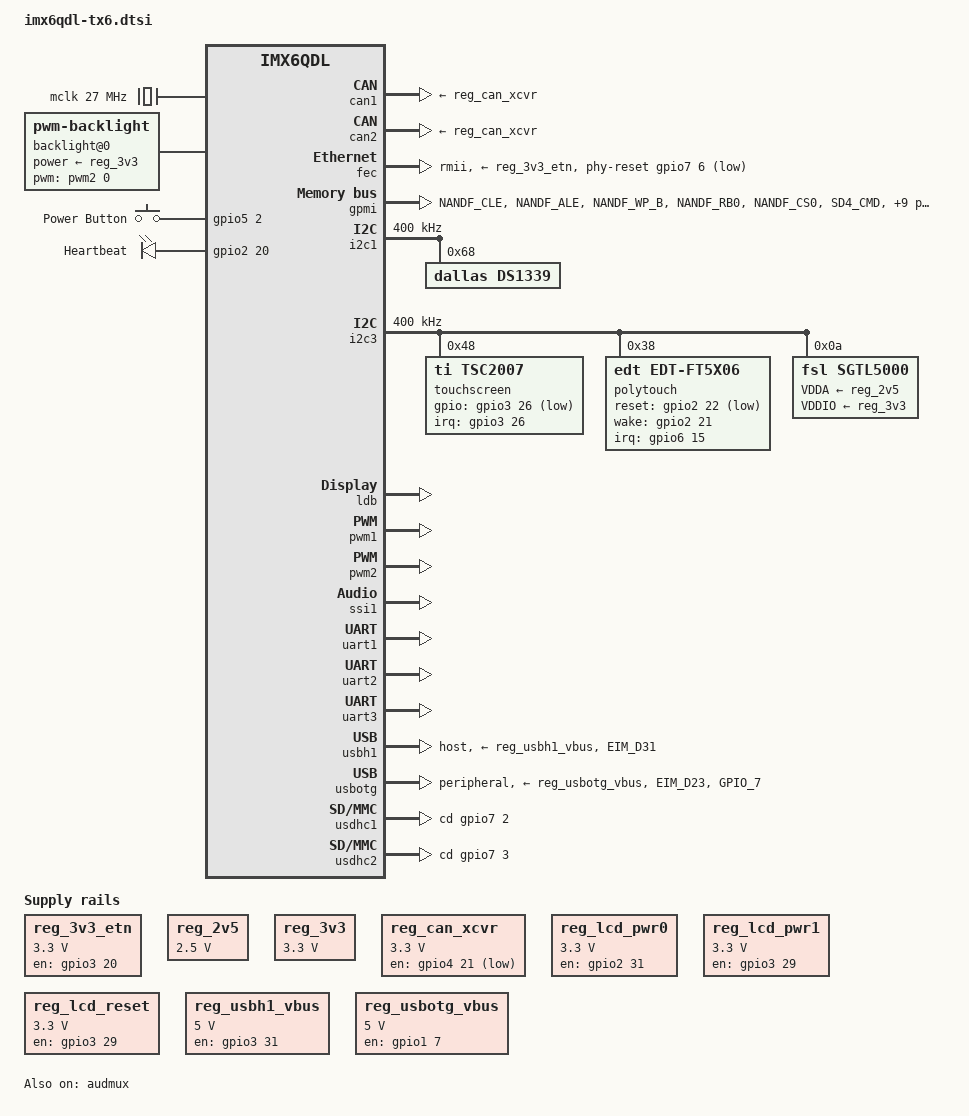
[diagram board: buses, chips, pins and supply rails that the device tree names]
/*
 * Copyright 2013 Lothar Waßmann <LW@KARO-electronics.de>
 *
 * The code contained herein is licensed under the GNU General Public
 * License. You may obtain a copy of the GNU General Public License
 * Version 2 at the following locations:
 *
 * http://www.opensource.org/licenses/gpl-license.html
 * http://www.gnu.org/copyleft/gpl.html
 */

#include <dt-bindings/gpio/gpio.h>

/ {
	aliases {
		can1 = &can1;
		display = &display;
		ethernet0 = &fec;
		lcdif_23bit_pins_a = &tx6_pinctrl_disp0_1;
		lcdif_24bit_pins_a = &tx6_pinctrl_disp0_2;
		lvds0 = &lvds0;
		lvds1 = &lvds1;
		stk5led = &user_led;
		usbotg = &usbotg;
	};

	chosen {
		bootargs = "init=/linuxrc console=ttymxc0,115200 root=/dev/mtdblock3 rootfstype=jffs2 ro debug panic=1";
	};

	memory {
		reg = <0 0>; /* will be filled by U-Boot */
	};

	clocks {
		#address-cells = <1>;
		#size-cells = <0>;
		mclk: codec_clock {
			compatible = "fixed-clock";
			reg = <0>;
			#clock-cells = <0>;
			clock-frequency = <27000000>;
		};
	};

	backlight@0 {
		compatible = "pwm-backlight";
		pwms = <&pwm2 0 500000>;
		power-supply = <&reg_3v3>;
		/*
		 * a poor man's way to create a 1:1 relationship between
		 * the PWM value and the actual duty cycle
		 */
		brightness-levels = < 0  1  2  3  4  5  6  7  8  9
				     10 11 12 13 14 15 16 17 18 19
				     20 21 22 23 24 25 26 27 28 29
				     30 31 32 33 34 35 36 37 38 39
				     40 41 42 43 44 45 46 47 48 49
				     50 51 52 53 54 55 56 57 58 59
				     60 61 62 63 64 65 66 67 68 69
				     70 71 72 73 74 75 76 77 78 79
				     80 81 82 83 84 85 86 87 88 89
				     90 91 92 93 94 95 96 97 98 99
				    100>;
		default-brightness-level = <50>;
	};

	backlight@1 {
		compatible = "pwm-backlight";
		pwms = <&pwm1 0 500000>;
		power-supply = <&reg_3v3>;
		/*
		 * a poor man's way to create a 1:1 relationship between
		 * the PWM value and the actual duty cycle
		 */
		brightness-levels = < 0  1  2  3  4  5  6  7  8  9
				     10 11 12 13 14 15 16 17 18 19
				     20 21 22 23 24 25 26 27 28 29
				     30 31 32 33 34 35 36 37 38 39
				     40 41 42 43 44 45 46 47 48 49
				     50 51 52 53 54 55 56 57 58 59
				     60 61 62 63 64 65 66 67 68 69
				     70 71 72 73 74 75 76 77 78 79
				     80 81 82 83 84 85 86 87 88 89
				     90 91 92 93 94 95 96 97 98 99
				    100>;
		default-brightness-level = <50>;
		status = "disabled";
	};

	display: display@di0 {
		compatible = "fsl,imx-parallel-display";
		crtcs = <&ipu1 0>;
		interface-pix-fmt = "rgb24";
		pinctrl-names = "default";
		pinctrl-0 = <&tx6_pinctrl_disp0_1>;
		status = "okay";

		display-timings {
			VGA {
				clock-frequency = <25200000>;
				hactive = <640>;
				vactive = <480>;
				hback-porch = <48>;
				hsync-len = <96>;
				hfront-porch = <16>;
				vback-porch = <31>;
				vsync-len = <2>;
				vfront-porch = <12>;
				hsync-active = <0>;
				vsync-active = <0>;
				de-active = <1>;
				pixelclk-active = <0>;
			};

			ETV570 {
				clock-frequency = <25200000>;
				hactive = <640>;
				vactive = <480>;
				hback-porch = <114>;
				hsync-len = <30>;
				hfront-porch = <16>;
				vback-porch = <32>;
				vsync-len = <3>;
				vfront-porch = <10>;
				hsync-active = <0>;
				vsync-active = <0>;
				de-active = <1>;
				pixelclk-active = <0>;
			};

			ET0350 {
				clock-frequency = <6413760>;
				hactive = <320>;
				vactive = <240>;
				hback-porch = <34>;
				hsync-len = <34>;
				hfront-porch = <20>;
				vback-porch = <15>;
				vsync-len = <3>;
				vfront-porch = <4>;
				hsync-active = <0>;
				vsync-active = <0>;
				de-active = <1>;
				pixelclk-active = <0>;
			};

			ET0430 {
				clock-frequency = <9009000>;
				hactive = <480>;
				vactive = <272>;
				hback-porch = <2>;
				hsync-len = <41>;
				hfront-porch = <2>;
				vback-porch = <2>;
				vsync-len = <10>;
				vfront-porch = <2>;
				hsync-active = <0>;
				vsync-active = <0>;
				de-active = <1>;
				pixelclk-active = <1>;
			};

			ET0500 {
				clock-frequency = <33264000>;
				hactive = <800>;
				vactive = <480>;
				hback-porch = <88>;
				hsync-len = <128>;
				hfront-porch = <40>;
				vback-porch = <33>;
				vsync-len = <2>;
				vfront-porch = <10>;
				hsync-active = <0>;
				vsync-active = <0>;
				de-active = <1>;
				pixelclk-active = <0>;
			};

			ET0700 { /* same as ET0500 */
				clock-frequency = <33264000>;
				hactive = <800>;
				vactive = <480>;
				hback-porch = <88>;
				hsync-len = <128>;
				hfront-porch = <40>;
				vback-porch = <33>;
				vsync-len = <2>;
				vfront-porch = <10>;
				hsync-active = <0>;
				vsync-active = <0>;
				de-active = <1>;
				pixelclk-active = <0>;
			};

			ETQ570 {
				clock-frequency = <6596040>;
				hactive = <320>;
				vactive = <240>;
				hback-porch = <38>;
				hsync-len = <30>;
				hfront-porch = <30>;
				vback-porch = <16>;
				vsync-len = <3>;
				vfront-porch = <4>;
				hsync-active = <0>;
				vsync-active = <0>;
				de-active = <1>;
				pixelclk-active = <0>;
			};
		};
        };

	gpio-keys {
		compatible = "gpio-keys";

		power {
			label = "Power Button";
			gpios = <&gpio5 2 GPIO_ACTIVE_HIGH>;
			linux,code = <116>; /* KEY_POWER */
			gpio-key,wakeup;
		};
	};

	leds {
		compatible = "gpio-leds";

		user_led: user {
			label = "Heartbeat";
			gpios = <&gpio2 20 GPIO_ACTIVE_HIGH>;
			linux,default-trigger = "heartbeat";
		};
	};

	regulators {
		compatible = "simple-bus";

		reg_3v3_etn: 3v3-etn {
			compatible = "regulator-fixed";
			regulator-name = "3V3_ETN";
			regulator-min-microvolt = <3300000>;
			regulator-max-microvolt = <3300000>;
			gpio = <&gpio3 20 GPIO_ACTIVE_HIGH>;
			enable-active-high;
		};

		reg_2v5: 2v5 {
			compatible = "regulator-fixed";
			regulator-name = "2V5";
			regulator-min-microvolt = <2500000>;
			regulator-max-microvolt = <2500000>;
			regulator-always-on;
		};

		reg_3v3: 3v3 {
			compatible = "regulator-fixed";
			regulator-name = "3V3";
			regulator-min-microvolt = <3300000>;
			regulator-max-microvolt = <3300000>;
			regulator-always-on;
		};

		reg_can_xcvr: can-xcvr {
			compatible = "regulator-fixed";
			regulator-name = "CAN XCVR";
			regulator-min-microvolt = <3300000>;
			regulator-max-microvolt = <3300000>;
			gpio = <&gpio4 21 GPIO_ACTIVE_HIGH>;
			enable-active-low;
			pinctrl-names = "default";
			pinctrl-0 = <&pinctrl_tx6qdl_flexcan_xcvr>;
		};

		reg_lcd_pwr0: lcd-power@0 {
			compatible = "regulator-fixed";
			regulator-name = "LCD POWER";
			regulator-min-microvolt = <3300000>;
			regulator-max-microvolt = <3300000>;
			gpio = <&gpio2 31 GPIO_ACTIVE_HIGH>;
			enable-active-high;
			regulator-boot-on;
		};

		reg_lcd_pwr1: lcd-power@1 {
			compatible = "regulator-fixed";
			regulator-name = "LCD POWER";
			regulator-min-microvolt = <3300000>;
			regulator-max-microvolt = <3300000>;
			gpio = <&gpio3 29 GPIO_ACTIVE_HIGH>;
			enable-active-high;
			regulator-boot-on;
		};

		reg_lcd_reset: lcd-reset {
			compatible = "regulator-fixed";
			regulator-name = "LCD RESET";
			regulator-min-microvolt = <3300000>;
			regulator-max-microvolt = <3300000>;
			gpio = <&gpio3 29 GPIO_ACTIVE_HIGH>;
			startup-delay-us = <300000>;
			enable-active-high;
			regulator-always-on;
			regulator-boot-on;
		};

		reg_usbh1_vbus: usbh1_vbus {
			compatible = "regulator-fixed";
			regulator-name = "usbh1_vbus";
			regulator-min-microvolt = <5000000>;
			regulator-max-microvolt = <5000000>;
			gpio = <&gpio3 31 GPIO_ACTIVE_HIGH>;
			enable-active-high;
		};

		reg_usbotg_vbus: usbotg_vbus {
			compatible = "regulator-fixed";
			regulator-name = "usbotg_vbus";
			regulator-min-microvolt = <5000000>;
			regulator-max-microvolt = <5000000>;
			gpio = <&gpio1 7 GPIO_ACTIVE_HIGH>;
			enable-active-high;
		};
	};

	sound {
		compatible = "fsl,imx6qdl-tx6qdl-sgtl5000",
			     "fsl,imx-audio-sgtl5000";
		model = "sgtl5000-audio";
		pinctrl-names = "default";
		pinctrl-0 = <&pinctrl_audmux_5>;
		ssi-controller = <&ssi1>;
		audio-codec = <&sgtl5000>;
		audio-routing =
			"MIC_IN", "Mic Jack",
			"Mic Jack", "Mic Bias",
			"Headphone Jack", "HP_OUT";
		mux-int-port = <1>;
		mux-ext-port = <5>;
	};
};

&audmux {
	status = "okay";
};

&can1 {
	pinctrl-names = "default";
	pinctrl-0 = <&pinctrl_flexcan1_3>;
	xceiver-supply = <&reg_can_xcvr>;

	status = "okay";
};

&can2 {
	pinctrl-names = "default";
	pinctrl-0 = <&pinctrl_flexcan2_1>;
	xceiver-supply = <&reg_can_xcvr>;

	status = "okay";
};

&fec {
	pinctrl-names = "default";
	pinctrl-0 = <&pinctrl_enet_4>;
	phy-mode = "rmii";
	phy-reset-gpios = <&gpio7 6 GPIO_ACTIVE_HIGH>;
	phy-supply = <&reg_3v3_etn>;
	status = "okay";
};

&gpmi {
	pinctrl-names = "default";
	pinctrl-0 = <&pinctrl_tx6_gpmi_nand>;
	nand-on-flash-bbt;
	status = "okay";
};

&i2c1 {
	pinctrl-names = "default";
	pinctrl-0 = <&pinctrl_i2c1_1>;
	clock-frequency = <400000>;
	status = "okay";

	ds1339: rtc@68 {
		compatible = "dallas,ds1339";
		reg = <0x68>;
	};
};

&i2c3 {
	pinctrl-names = "default";
	pinctrl-0 = <&pinctrl_i2c3_2>;
	clock-frequency = <400000>;
	status = "okay";

	touchscreen: tsc2007@48 {
		compatible = "ti,tsc2007";
		reg = <0x48>;
		pinctrl-names = "default";
		pinctrl-0 = <&pinctrl_tsc2007_1>;
		interrupt-parent = <&gpio3>;
		interrupts = <26 0>;
		gpios = <&gpio3 26 GPIO_ACTIVE_LOW>;
		ti,x-plate-ohms = <660>;
		linux,wakeup;
	};

	polytouch: edt-ft5x06@38 {
		compatible = "edt,edt-ft5x06";
		reg = <0x38>;
		pinctrl-names = "default";
		pinctrl-0 = <&pinctrl_edt_ft5x06_1>;
		interrupt-parent = <&gpio6>;
		interrupts = <15 0>;
		reset-gpios = <&gpio2 22 GPIO_ACTIVE_LOW>;
		wake-gpios = <&gpio2 21 GPIO_ACTIVE_HIGH>;
	};

	sgtl5000: sgtl5000@0a {
		compatible = "fsl,sgtl5000";
		reg = <0x0a>;
		VDDA-supply = <&reg_2v5>;
		VDDIO-supply = <&reg_3v3>;
		clocks = <&mclk>;
	};
};

&iomuxc {
	pinctrl-names = "default";
	pinctrl-0 = <&pinctrl_hog>;

	display {
		tx6_pinctrl_disp0_1: disp0grp-1 {
			fsl,pins = <
				MX6QDL_PAD_DI0_DISP_CLK__IPU1_DI0_DISP_CLK 0x10
				MX6QDL_PAD_DI0_PIN15__IPU1_DI0_PIN15       0x10
				MX6QDL_PAD_DI0_PIN2__IPU1_DI0_PIN02        0x10
				MX6QDL_PAD_DI0_PIN3__IPU1_DI0_PIN03        0x10
				/* PAD DISP0_DAT0 is used for the Flexcan transceiver control */
				MX6QDL_PAD_DISP0_DAT1__IPU1_DISP0_DATA01   0x10
				MX6QDL_PAD_DISP0_DAT2__IPU1_DISP0_DATA02   0x10
				MX6QDL_PAD_DISP0_DAT3__IPU1_DISP0_DATA03   0x10
				MX6QDL_PAD_DISP0_DAT4__IPU1_DISP0_DATA04   0x10
				MX6QDL_PAD_DISP0_DAT5__IPU1_DISP0_DATA05   0x10
				MX6QDL_PAD_DISP0_DAT6__IPU1_DISP0_DATA06   0x10
				MX6QDL_PAD_DISP0_DAT7__IPU1_DISP0_DATA07   0x10
				MX6QDL_PAD_DISP0_DAT8__IPU1_DISP0_DATA08   0x10
				MX6QDL_PAD_DISP0_DAT9__IPU1_DISP0_DATA09   0x10
				MX6QDL_PAD_DISP0_DAT10__IPU1_DISP0_DATA10  0x10
				MX6QDL_PAD_DISP0_DAT11__IPU1_DISP0_DATA11  0x10
				MX6QDL_PAD_DISP0_DAT12__IPU1_DISP0_DATA12  0x10
				MX6QDL_PAD_DISP0_DAT13__IPU1_DISP0_DATA13  0x10
				MX6QDL_PAD_DISP0_DAT14__IPU1_DISP0_DATA14  0x10
				MX6QDL_PAD_DISP0_DAT15__IPU1_DISP0_DATA15  0x10
				MX6QDL_PAD_DISP0_DAT16__IPU1_DISP0_DATA16  0x10
				MX6QDL_PAD_DISP0_DAT17__IPU1_DISP0_DATA17  0x10
				MX6QDL_PAD_DISP0_DAT18__IPU1_DISP0_DATA18  0x10
				MX6QDL_PAD_DISP0_DAT19__IPU1_DISP0_DATA19  0x10
				MX6QDL_PAD_DISP0_DAT20__IPU1_DISP0_DATA20  0x10
				MX6QDL_PAD_DISP0_DAT21__IPU1_DISP0_DATA21  0x10
				MX6QDL_PAD_DISP0_DAT22__IPU1_DISP0_DATA22  0x10
				MX6QDL_PAD_DISP0_DAT23__IPU1_DISP0_DATA23  0x10
			>;
		};

		tx6_pinctrl_disp0_2: disp0grp-2 {
			fsl,pins = <
				MX6QDL_PAD_DI0_DISP_CLK__IPU1_DI0_DISP_CLK 0x10
				MX6QDL_PAD_DI0_PIN15__IPU1_DI0_PIN15       0x10
				MX6QDL_PAD_DI0_PIN2__IPU1_DI0_PIN02        0x10
				MX6QDL_PAD_DI0_PIN3__IPU1_DI0_PIN03        0x10
				MX6QDL_PAD_DISP0_DAT0__IPU1_DISP0_DATA00   0x10
				MX6QDL_PAD_DISP0_DAT1__IPU1_DISP0_DATA01   0x10
				MX6QDL_PAD_DISP0_DAT2__IPU1_DISP0_DATA02   0x10
				MX6QDL_PAD_DISP0_DAT3__IPU1_DISP0_DATA03   0x10
				MX6QDL_PAD_DISP0_DAT4__IPU1_DISP0_DATA04   0x10
				MX6QDL_PAD_DISP0_DAT5__IPU1_DISP0_DATA05   0x10
				MX6QDL_PAD_DISP0_DAT6__IPU1_DISP0_DATA06   0x10
				MX6QDL_PAD_DISP0_DAT7__IPU1_DISP0_DATA07   0x10
				MX6QDL_PAD_DISP0_DAT8__IPU1_DISP0_DATA08   0x10
				MX6QDL_PAD_DISP0_DAT9__IPU1_DISP0_DATA09   0x10
				MX6QDL_PAD_DISP0_DAT10__IPU1_DISP0_DATA10  0x10
				MX6QDL_PAD_DISP0_DAT11__IPU1_DISP0_DATA11  0x10
				MX6QDL_PAD_DISP0_DAT12__IPU1_DISP0_DATA12  0x10
				MX6QDL_PAD_DISP0_DAT13__IPU1_DISP0_DATA13  0x10
				MX6QDL_PAD_DISP0_DAT14__IPU1_DISP0_DATA14  0x10
				MX6QDL_PAD_DISP0_DAT15__IPU1_DISP0_DATA15  0x10
				MX6QDL_PAD_DISP0_DAT16__IPU1_DISP0_DATA16  0x10
				MX6QDL_PAD_DISP0_DAT17__IPU1_DISP0_DATA17  0x10
				MX6QDL_PAD_DISP0_DAT18__IPU1_DISP0_DATA18  0x10
				MX6QDL_PAD_DISP0_DAT19__IPU1_DISP0_DATA19  0x10
				MX6QDL_PAD_DISP0_DAT20__IPU1_DISP0_DATA20  0x10
				MX6QDL_PAD_DISP0_DAT21__IPU1_DISP0_DATA21  0x10
				MX6QDL_PAD_DISP0_DAT22__IPU1_DISP0_DATA22  0x10
				MX6QDL_PAD_DISP0_DAT23__IPU1_DISP0_DATA23  0x10
			>;
		};
	};

	flexcan {
		pinctrl_tx6qdl_flexcan_xcvr: flexcan-xcvrgrp-1 {
			fsl,pins = <
				MX6QDL_PAD_DISP0_DAT0__GPIO4_IO21 0x1b0b0 /* Flexcan XCVR enable */
			>;
		};
	};

	hog {
		pinctrl_hog: hoggrp {
			fsl,pins = <
				MX6QDL_PAD_EIM_A18__GPIO2_IO20 0x1b0b1 /* LED */
				MX6QDL_PAD_SD3_DAT2__GPIO7_IO06 0x1b0b1 /* ETN PHY RESET */
				MX6QDL_PAD_EIM_D20__GPIO3_IO20 0x1b0b1 /* ETN PHY POWER */
				MX6QDL_PAD_SD3_DAT4__GPIO7_IO01 0x1b0b1 /* ETN PHY INT
				MX6QDL_PAD_SD3_CMD__GPIO7_IO02 0x1b0b0 /* SD1 CD */
				MX6QDL_PAD_SD3_CLK__GPIO7_IO03 0x1b0b0 /* SD2 CD */
				MX6QDL_PAD_EIM_EB3__GPIO2_IO31 0x1b0b1 /* LCD Power Enable */
				MX6QDL_PAD_EIM_D29__GPIO3_IO29 0x1b0b1 /* LCD Reset */
				MX6QDL_PAD_EIM_A25__GPIO5_IO02 0x1b0b1 /* PWR BTN */
			>;
		};
	};

	kpp {
		pinctrl_kpp: kppgrp {
			fsl,pins = <
				MX6QDL_PAD_GPIO_9__KEY_COL6 0x1b0b1
				MX6QDL_PAD_GPIO_4__KEY_COL7 0x1b0b1
				MX6QDL_PAD_KEY_COL2__KEY_COL2 0x1b0b1
				MX6QDL_PAD_KEY_COL3__KEY_COL3 0x1b0b1

				MX6QDL_PAD_GPIO_2__KEY_ROW6 0x1b0b1
				MX6QDL_PAD_GPIO_5__KEY_ROW7 0x1b0b1
				MX6QDL_PAD_KEY_ROW2__KEY_ROW2 0x1b0b1
				MX6QDL_PAD_KEY_ROW3__KEY_ROW3 0x1b0b1
			>;
		};
	};

	nand {
		pinctrl_tx6_gpmi_nand: tx6-gpmi-nand {
			fsl,pins = <
				MX6QDL_PAD_NANDF_CLE__NAND_CLE     0xb0b1
				MX6QDL_PAD_NANDF_ALE__NAND_ALE     0xb0b1
				MX6QDL_PAD_NANDF_WP_B__NAND_WP_B   0xb0b1
				MX6QDL_PAD_NANDF_RB0__NAND_READY_B 0xb000
				MX6QDL_PAD_NANDF_CS0__NAND_CE0_B   0xb0b1
				MX6QDL_PAD_SD4_CMD__NAND_RE_B      0xb0b1
				MX6QDL_PAD_SD4_CLK__NAND_WE_B      0xb0b1
				MX6QDL_PAD_NANDF_D0__NAND_DATA00   0xb0b1
				MX6QDL_PAD_NANDF_D1__NAND_DATA01   0xb0b1
				MX6QDL_PAD_NANDF_D2__NAND_DATA02   0xb0b1
				MX6QDL_PAD_NANDF_D3__NAND_DATA03   0xb0b1
				MX6QDL_PAD_NANDF_D4__NAND_DATA04   0xb0b1
				MX6QDL_PAD_NANDF_D5__NAND_DATA05   0xb0b1
				MX6QDL_PAD_NANDF_D6__NAND_DATA06   0xb0b1
				MX6QDL_PAD_NANDF_D7__NAND_DATA07   0xb0b1
			>;
		};
	};

	touchpanel {
		pinctrl_tsc2007_1: tsc2007grp-1 {
			fsl,pins = <
				MX6QDL_PAD_EIM_D26__GPIO3_IO26 0x1b0b0 /* Interrupt */
			>;
		};

		pinctrl_edt_ft5x06_1: edt-ft5x06grp-1 {
			fsl,pins = <
				MX6QDL_PAD_NANDF_CS2__GPIO6_IO15 0x1b0b0 /* Interrupt */
				MX6QDL_PAD_EIM_A16__GPIO2_IO22   0x1b0b0 /* Reset */
				MX6QDL_PAD_EIM_A17__GPIO2_IO21   0x1b0b0 /* Wake */
			>;
		};
	};

	usbh1 {
		pinctrl_tx6_usbh1_vbus: tx6-usbh1-vbusgrp {
			fsl,pins = <
				MX6QDL_PAD_EIM_D31__GPIO3_IO31 0x1b0b0 /* USBH1_VBUSEN */
			>;
		};
	};

	usbotg {
		pinctrl_tx6_usbotg: tx6-usbotggrp {
			fsl,pins = <
				MX6QDL_PAD_EIM_D23__GPIO3_IO23 0x17059
			>;
		};

		pinctrl_tx6_usbotg_vbus: tx6-usbotg-vbusgrp {
			fsl,pins = <
				MX6QDL_PAD_GPIO_7__GPIO1_IO07 0x1b0b0 /* USBOTG_VBUSEN */
			>;
		};
	};
};

&kpp {
	pinctrl-names = "default";
	pinctrl-0 = <&pinctrl_kpp>;
	/* sample keymap */
	/* row/col 0,1 are mapped to KPP row/col 6,7 */
	linux,keymap = <
		0x06060074 /* row 6, col 6, KEY_POWER */
		0x06070052 /* row 6, col 7, KEY_KP0 */
		0x0602004f /* row 6, col 2, KEY_KP1 */
		0x06030050 /* row 6, col 3, KEY_KP2 */
		0x07060051 /* row 7, col 6, KEY_KP3 */
		0x0707004b /* row 7, col 7, KEY_KP4 */
		0x0702004c /* row 7, col 2, KEY_KP5 */
		0x0703004d /* row 7, col 3, KEY_KP6 */
		0x02060047 /* row 2, col 6, KEY_KP7 */
		0x02070048 /* row 2, col 7, KEY_KP8 */
		0x02020049 /* row 2, col 2, KEY_KP9 */
	>;
};

&ldb {
	status = "okay";

	lvds0: lvds-channel@0 {
		fsl,data-mapping = "spwg";
		fsl,data-width = <18>;
		status = "okay";

		display-timings {
			native-mode = <&lvds_timing0>;
			lvds_timing0: hsd100pxn1 {
				clock-frequency = <65000000>;
				hactive = <1024>;
				vactive = <768>;
				hback-porch = <220>;
				hfront-porch = <40>;
				vback-porch = <21>;
				vfront-porch = <7>;
				hsync-len = <60>;
				vsync-len = <10>;
			};
		};
	};

	lvds1: lvds-channel@1 {
		fsl,data-mapping = "spwg";
		fsl,data-width = <18>;
		status = "okay";

		display-timings {
			native-mode = <&lvds_timing1>;
			lvds_timing1: hsd100pxn1 {
				clock-frequency = <65000000>;
				hactive = <1024>;
				vactive = <768>;
				hback-porch = <220>;
				hfront-porch = <40>;
				vback-porch = <21>;
				vfront-porch = <7>;
				hsync-len = <60>;
				vsync-len = <10>;
			};
		};
	};
};

&pwm1 {
	pinctrl-names = "default";
	pinctrl-0 = <&pinctrl_pwm1_2>;
	status = "okay";
};

&pwm2 {
	pinctrl-names = "default";
	pinctrl-0 = <&pinctrl_pwm2_1>;
	status = "okay";
};

&ssi1 {
	fsl,mode = "i2s-slave";
	status = "okay";
};

&uart1 {
	pinctrl-names = "default";
	pinctrl-0 = <&pinctrl_uart1_2>;
	status = "okay";
};

&uart2 {
	pinctrl-names = "default";
	pinctrl-0 = <&pinctrl_uart2_3 &pinctrl_uart2_rtscts_3>;
	status = "okay";
};

&uart3 {
	pinctrl-names = "default";
	pinctrl-0 = <&pinctrl_uart3_3 &pinctrl_uart3_rtscts_3>;
	status = "okay";
};

&usbh1 {
	vbus-supply = <&reg_usbh1_vbus>;
	pinctrl-names = "default";
	pinctrl-0 = <&pinctrl_tx6_usbh1_vbus>;
	dr_mode = "host";
	disable-over-current;
	status = "okay";
};

&usbotg {
	vbus-supply = <&reg_usbotg_vbus>;
	pinctrl-names = "default";
	pinctrl-0 = <&pinctrl_tx6_usbotg &pinctrl_tx6_usbotg_vbus>;
	dr_mode = "peripheral";
	disable-over-current;
	status = "okay";
};

&usdhc1 {
	pinctrl-names = "default";
	pinctrl-0 = <&pinctrl_usdhc1_2>;
	cd-gpios = <&gpio7 2 GPIO_ACTIVE_HIGH>;
	status = "okay";
};

&usdhc2 {
	pinctrl-names = "default";
	pinctrl-0 = <&pinctrl_usdhc2_2>;
	cd-gpios = <&gpio7 3 GPIO_ACTIVE_HIGH>;
	status = "okay";
};
